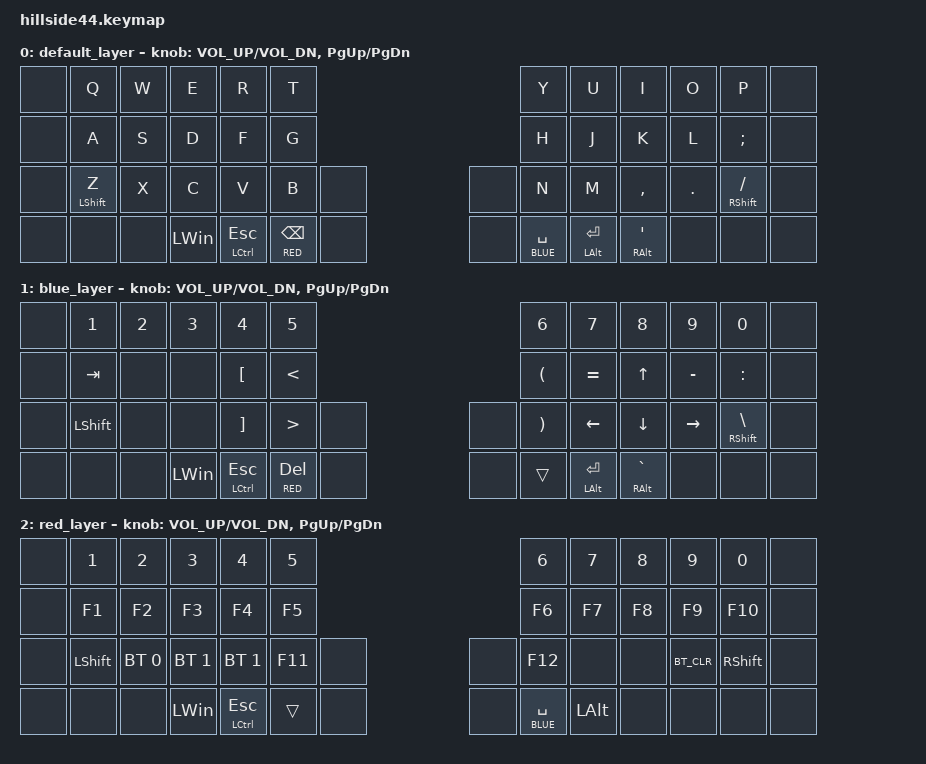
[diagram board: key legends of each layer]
/*
 * Copyright (c) 2021-2022 The ZMK Contributors
 *
 * SPDX-License-Identifier: MIT
 */

#include <behaviors.dtsi>
#include <dt-bindings/zmk/bt.h>
#include <dt-bindings/zmk/ext_power.h>
#include <dt-bindings/zmk/keys.h>
#include <dt-bindings/zmk/outputs.h>

#define BLUE 1
#define RED 2

#define Z_SFT &mt LSHFT Z
#define ESC_WIN &mt LWIN ESC
#define DEL_CTL &mt LCTRL DEL
#define ESC_CTL &mt LCTRL ESC
#define ENT_RED &lt RED ENTER
#define BSP_RED &lt RED BSPC
#define DEL_RED &lt RED DEL

#define SPC_BLU &lt BLUE SPACE
#define BSP_BLU &lt BLUE BSPC
#define BSP_ALT &mt LALT BSPC
#define ENT_ALT &mt LALT ENTER

#define SLS_SFT &mt RSHFT FSLH
#define BSL_SFT &mt RSHFT BSLH
#define SQT_ALT &mt RALT SQT
#define GRV_ALT &mt RALT GRAVE

#define BT_1 &bt BT_SEL 0
#define BT_2 &bt BT_SEL 1
#define BT_3 &bt BT_SEL 1
#define BT_4 &bt BT_SEL 1
#define BT_5 &bt BT_SEL 1

#define ________ &trans
#define XXXXXXXX &none

//  #           #           #           #           #           #           #           #           #           #           #           #           #           #           #           #

/ {
    keymap {
        compatible = "zmk,keymap";
        default_layer {
            bindings = <
//  #           #           #           #           #           #           #           #           #           #           #           #           #           #           #           #           #
    XXXXXXXX    &kp Q       &kp W       &kp E       &kp R       &kp T                                                                   &kp Y       &kp U       &kp I       &kp O       &kp P       XXXXXXXX
    XXXXXXXX    &kp A       &kp S       &kp D       &kp F       &kp G                                                                   &kp H       &kp J       &kp K       &kp L       &kp SEMI    XXXXXXXX
    XXXXXXXX    Z_SFT       &kp X       &kp C       &kp V       &kp B       XXXXXXXX                                        XXXXXXXX    &kp N       &kp M       &kp COMMA   &kp DOT     SLS_SFT     XXXXXXXX
    XXXXXXXX    XXXXXXXX    XXXXXXXX                &kp LWIN    ESC_CTL     BSP_RED     XXXXXXXX                XXXXXXXX    SPC_BLU     ENT_ALT     SQT_ALT                 XXXXXXXX    XXXXXXXX    XXXXXXXX
            >;
			      sensor-bindings = <&inc_dec_kp C_VOL_UP C_VOL_DN &inc_dec_kp PG_UP PG_DN>;
        };
		
        blue_layer {
            bindings = <
//  #           #           #           #           #           #           #           #           #           #           #           #           #           #           #           #           #
    XXXXXXXX    &kp N1      &kp N2      &kp N3      &kp N4      &kp N5                                                                  &kp N6      &kp N7      &kp N8      &kp N9      &kp N0      XXXXXXXX
    XXXXXXXX    &kp TAB     XXXXXXXX    XXXXXXXX    &kp LBKT    &kp LT                                                                  &kp LPAR    &kp EQUAL   &kp UP      &kp MINUS   &kp COLON   XXXXXXXX
    XXXXXXXX    &kp LSHFT   XXXXXXXX    XXXXXXXX    &kp RBKT    &kp GT      XXXXXXXX                                        XXXXXXXX    &kp RPAR    &kp LEFT    &kp DOWN    &kp RIGHT   BSL_SFT     XXXXXXXX
    XXXXXXXX    XXXXXXXX    XXXXXXXX                &kp LWIN    ESC_CTL     DEL_RED     XXXXXXXX                XXXXXXXX    ________    ENT_ALT     GRV_ALT                 XXXXXXXX    XXXXXXXX    XXXXXXXX
            >;
			      sensor-bindings = <&inc_dec_kp C_VOL_UP C_VOL_DN &inc_dec_kp PG_UP PG_DN>;
        };

        red_layer {
            bindings = <
//  #           #           #           #           #           #           #           #           #           #           #           #           #           #           #           #           #
    XXXXXXXX    &kp N1      &kp N2      &kp N3      &kp N4      &kp N5                                                                  &kp N6      &kp N7      &kp N8      &kp N9      &kp N0      XXXXXXXX
    XXXXXXXX    &kp F1      &kp F2      &kp F3      &kp F4      &kp F5                                                                  &kp F6      &kp F7      &kp F8      &kp F9      &kp F10     XXXXXXXX
    XXXXXXXX    &kp LSHFT   BT_1        BT_2        BT_3        &kp F11     XXXXXXXX                                        XXXXXXXX    &kp F12     XXXXXXXX    XXXXXXXX    &kp BT_CLR  &kp RSHFT   XXXXXXXX
    XXXXXXXX    XXXXXXXX    XXXXXXXX                &kp LWIN    ESC_CTL     ________    XXXXXXXX                XXXXXXXX    SPC_BLU     &kp LALT    XXXXXXXX                XXXXXXXX    XXXXXXXX    XXXXXXXX
            >;
			      sensor-bindings = <&inc_dec_kp C_VOL_UP C_VOL_DN &inc_dec_kp PG_UP PG_DN>;
        };
    };
};
